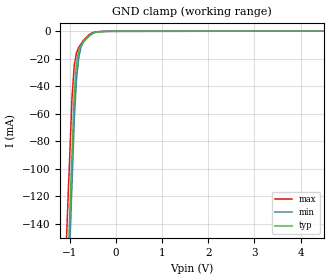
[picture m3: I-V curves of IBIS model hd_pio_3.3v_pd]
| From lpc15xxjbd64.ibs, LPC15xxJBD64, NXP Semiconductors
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[Model] hd_pio_3.3v_pd
Model_type Input
Vinl = 990.000mV
Vinh = 2.31000V
C_comp 1.52000pF 1.52000pF 1.52000pF
| variable typ   min   max
[Voltage Range] 3.30000V 3.00000V 3.60000V
[POWER Clamp Reference] 3.30000V 3.00000V 3.60000V
[GND Clamp Reference] 0.00000V 0.00000V 0.00000V
[Temperature Range]   25   85   -40
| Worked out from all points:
|   GND clamp passes 1 mA (typ) near -0.46 V on its own axis
[GND Clamp]
-3.3V     -2.224A    -2.356A    -2.062A
-950mV    -89.59mA   -111.1mA   -48.37mA
-900mV    -44.18mA   -63.3mA    -24.43mA
-850mV    -22.8mA    -33.98mA   -15.23mA
-800mV    -13.64mA   -18.15mA   -11.36mA
-750mV    -9.681mA   -11.04mA   -8.929mA
-700mV    -7.2mA     -7.752mA   -6.494mA
-600mV    -3.968mA   -4.033mA   -3.033mA
-500mV    -1.419mA   -1.54mA    -916.2uA
-350mV    -377.9uA   -249.4uA   -196.4uA
50mV      -30.72uA   2.936uA    -7.58uA
6.6V      152.4uA    134.8uA    141.8uA
[POWER Clamp]
-3.3V     0A         0A         0A
6.6V      0A         0A         0A
